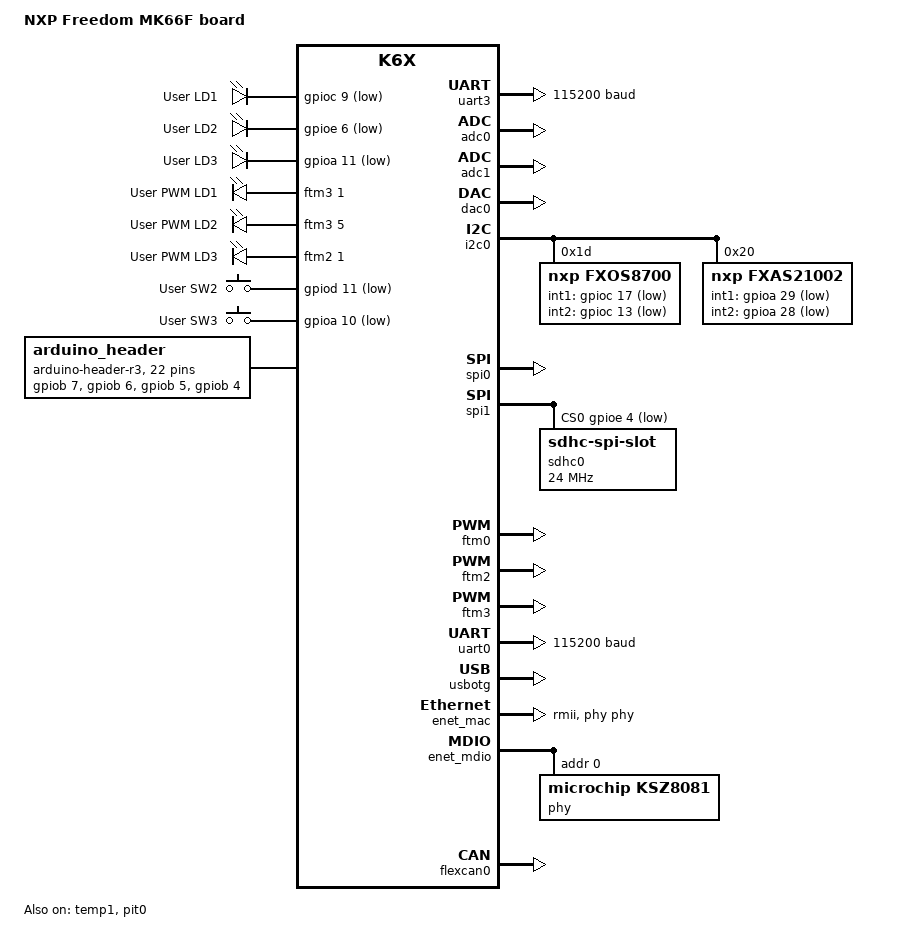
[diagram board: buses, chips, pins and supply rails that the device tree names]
/* SPDX-License-Identifier: Apache-2.0 */

/dts-v1/;

#include <nxp/nxp_k6x.dtsi>
#include <zephyr/dt-bindings/pwm/pwm.h>
#include "frdm_k66f-pinctrl.dtsi"
#include <zephyr/dt-bindings/input/input-event-codes.h>

/ {
	model = "NXP Freedom MK66F board";
	compatible = "nxp,mk66f18", "nxp,k66f", "nxp,k6x";

	aliases {
		led0 = &green_led;
		led1 = &blue_led;
		led2 = &red_led;
		// pwm-led0 = &red_pwm_led;
		// pwm-led1 = &blue_pwm_led;
		// pwm-led2 = &green_pwm_led;
		green-pwm-led = &green_pwm_led;
		blue-pwm-led = &blue_pwm_led;
		red-pwm-led = &red_pwm_led;
		sw0 = &user_button_3;
		sw1 = &user_button_2;
		magn0 = &fxos8700;
		accel0 = &fxos8700;
		gyro0 = &fxas21002;
	};

	chosen {
		zephyr,sram = &sram0;
		zephyr,flash = &flash0;
		zephyr,code-partition = &slot0_partition;
		zephyr,console = &uart0;
		zephyr,shell-uart = &uart0;
		zephyr,uart-pipe = &uart0;
		zephyr,canbus = &flexcan0;
		zephyr,uart-mcumgr = &uart0;
	};

	leds {
		compatible = "gpio-leds";
		red_led: led_0 {
			gpios = <&gpioc 9 GPIO_ACTIVE_LOW>;
			label = "User LD1";
		};
		green_led: led_1 {
			gpios = <&gpioe 6 GPIO_ACTIVE_LOW>;
			label = "User LD2";
		};
		blue_led: led_2 {
			gpios = <&gpioa 11 GPIO_ACTIVE_LOW>;
			label = "User LD3";
		};
	};

	pwmleds {
		compatible = "pwm-leds";
		green_pwm_led: green_pwm_led {
			pwms = <&ftm3 1 15625000 PWM_POLARITY_INVERTED>;
			label = "User PWM LD1";
		};
		red_pwm_led: red_pwm_led {
			pwms = <&ftm3 5 15625000 PWM_POLARITY_INVERTED>;
			label = "User PWM LD2";
		};
		blue_pwm_led: blue_pwm_led {
			pwms = <&ftm2 1 15625000 PWM_POLARITY_INVERTED>;
			label = "User PWM LD3";
			};
	};

	gpio_keys {
		compatible = "gpio-keys";
		user_button_2: button_0 {
			label = "User SW2";
			gpios = <&gpiod 11 GPIO_ACTIVE_LOW>;
			zephyr,code = <INPUT_KEY_0>;
		};
		user_button_3: button_1 {
			label = "User SW3";
			gpios = <&gpioa 10 GPIO_ACTIVE_LOW>;
			zephyr,code = <INPUT_KEY_1>;
		};
	};

	arduino_header: connector {
		compatible = "arduino-header-r3";
		#gpio-cells = <2>;
		gpio-map-mask = <0xffffffff 0xffffffc0>;
		gpio-map-pass-thru = <0 0x3f>;
		gpio-map = <0 0 &gpiob 7 0>,	/* A0 */
			   <1 0 &gpiob 6 0>,	/* A1 */
			   <2 0 &gpiob 5 0>,	/* A2 */
			   <3 0 &gpiob 4 0>,	/* A3 */
			   <4 0 &gpiob 3 0>,	/* A4 */
			   <5 0 &gpiob 2 0>,	/* A5 */
			   <6 0 &gpioc 3 0>,	/* D0 */
			   <7 0 &gpioc 4 0>,	/* D1 */
			   <8 0 &gpioc 16 0>,	/* D2 */
			   <9 0 &gpioc 8 0>,	/* D3 */
			   <10 0 &gpioc 12 0>,	/* D4 */
			   <11 0 &gpioc 5 0>,	/* D5 */
			   <12 0 &gpioc 2 0>,	/* D6 */
			   <13 0 &gpioa 25 0>,	/* D7 */
			   <14 0 &gpiob 18 0>,	/* D8 */
			   <15 0 &gpiob 19 0>,	/* D9 */
			   <16 0 &gpiod 0 0>,	/* D10 */
			   <17 0 &gpiod 2 0>,	/* D11 */
			   <18 0 &gpiod 3 0>,	/* D12 */
			   <19 0 &gpiod 1 0>,	/* D13 */
			   <20 0 &gpioc 11 0>,	/* D14 */
			   <21 0 &gpioc 10 0>;	/* D15 */
	};
};

&sim {
	pllfll-select = <KINETIS_SIM_PLLFLLSEL_MCGPLLCLK>;
	er32k-select = <KINETIS_SIM_ER32KSEL_RTC>;
};

arduino_serial: &uart3 {
	status = "okay";
	current-speed = <115200>;
	pinctrl-0 = <&uart3_default>;
	pinctrl-names = "default";
};

&cpu0 {
	clock-frequency = <120000000>;
};

&adc0 {
	status = "okay";
	pinctrl-0 = <&adc0_default>;
	pinctrl-names = "default";
};

&adc1 {
	status = "okay";
	pinctrl-0 = <&adc1_default>;
	pinctrl-names = "default";
};

&temp1 {
	status = "okay";
};

&dac0 {
	status = "okay";
	voltage-reference = <2>;
};

arduino_i2c: &i2c0 {
	status = "okay";
	pinctrl-0 = <&i2c0_default>;
	pinctrl-names = "default";

	fxos8700: fxos8700@1d {
		compatible = "nxp,fxos8700";
		reg = <0x1d>;
		int1-gpios = <&gpioc 17 GPIO_ACTIVE_LOW>;
		int2-gpios = <&gpioc 13 GPIO_ACTIVE_LOW>;
	};

	fxas21002: fxas21002@20 {
		compatible = "nxp,fxas21002";
		reg = <0x20>;
		int1-gpios = <&gpioa 29 GPIO_ACTIVE_LOW>;
		int2-gpios = <&gpioa 28 GPIO_ACTIVE_LOW>;
	};
};

arduino_spi: &spi0 {
	status = "okay";
	pinctrl-0 = <&spi0_default>;
	pinctrl-names = "default";
};

&spi1 {
	status = "okay";
	pinctrl-0 = <&spi1_default>;
	pinctrl-names = "default";
	cs-gpios = <&gpioe 4 GPIO_ACTIVE_LOW>;

	sdhc0: sdhc@0 {
		compatible = "zephyr,sdhc-spi-slot";
		reg = <0>;
		status = "okay";
		sdmmc {
			compatible = "zephyr,sdmmc-disk";
			status = "okay";
		};
		spi-max-frequency = <24000000>;
	};
};

&ftm0 {
	status = "okay";
	compatible = "nxp,kinetis-ftm-pwm";
	#pwm-cells = <3>;
	pinctrl-0 = <&ftm0_default>;
	pinctrl-names = "default";
	clock-source = "fixed";
};

&ftm2 {
	status = "okay";
	compatible = "nxp,kinetis-ftm-pwm";
	#pwm-cells = <3>;
	pinctrl-0 = <&ftm2_default>;
	pinctrl-names = "default";
	clock-source = "fixed";
};

&ftm3 {
	status = "okay";
	compatible = "nxp,kinetis-ftm-pwm";
	#pwm-cells = <3>;
	pinctrl-0 = <&ftm3_default>;
	pinctrl-names = "default";
	clock-source = "fixed";
};

&uart0 {
	status = "okay";
	current-speed = <115200>;
	pinctrl-0 = <&uart0_default>;
	pinctrl-names = "default";
};

// &uart2 {
// 	pinctrl-0 = <&uart2_default>;
// 	pinctrl-names = "default";
// };

zephyr_udc0: &usbotg {
	compatible = "nxp,kinetis-usbd";
	status = "okay";
	num-bidir-endpoints = <8>;
};

&gpioa {
	status = "okay";
};

&gpiob {
	status = "okay";
};

&gpioc {
	status = "okay";
};

&gpiod {
	status = "okay";
};

&gpioe {
	status = "okay";
};

&flash0 {

	partitions {
		compatible = "fixed-partitions";
		#address-cells = <1>;
		#size-cells = <1>;

		boot_partition: partition@0 {
			label = "mcuboot";
			reg = <0x00000000 DT_SIZE_K(64)>;
			read-only;
		};
		/* The MCUBoot swap-move algorithm uses the last 2 sectors
		 * of the primary slot0 for swap status and move.
		 */
		slot0_partition: partition@10000 {
			label = "image-0";
			reg = <0x00010000 (DT_SIZE_K(416) + DT_SIZE_K(8))>;
		};
		slot1_partition: partition@7a000 {
			label = "image-1";
			reg = <0x0007a000 DT_SIZE_K(416)>;
		};
		storage_partition: partition@e2000 {
			label = "storage";
			reg = <0x000e2000 DT_SIZE_K(120)>;
		};
	};
};

&enet_mac {
	status = "okay";
	pinctrl-0 = <&pinmux_enet>;
	pinctrl-names = "default";
	phy-handle = <&phy>;
	zephyr,random-mac-address;
	phy-connection-type = "rmii";
};


&enet_mdio {
	status = "okay";
	pinctrl-0 = <&pinmux_enet_mdio>;
	pinctrl-names = "default";
	phy: phy@0 {
		compatible = "microchip,ksz8081";
		reg = <0>;
		status = "okay";
		microchip,interface-type = "rmii-25MHz";
	};
};

&enet_ptp_clock {
	status = "okay";
	pinctrl-0 = <&pinmux_ptp>;
	pinctrl-names = "default";
};

&flexcan0 {
	status = "okay";
	pinctrl-0 = <&flexcan0_default>;
	pinctrl-names = "default";
};

&edma0 {
	status = "okay";
};

&pit0 {
	status = "okay";
};
